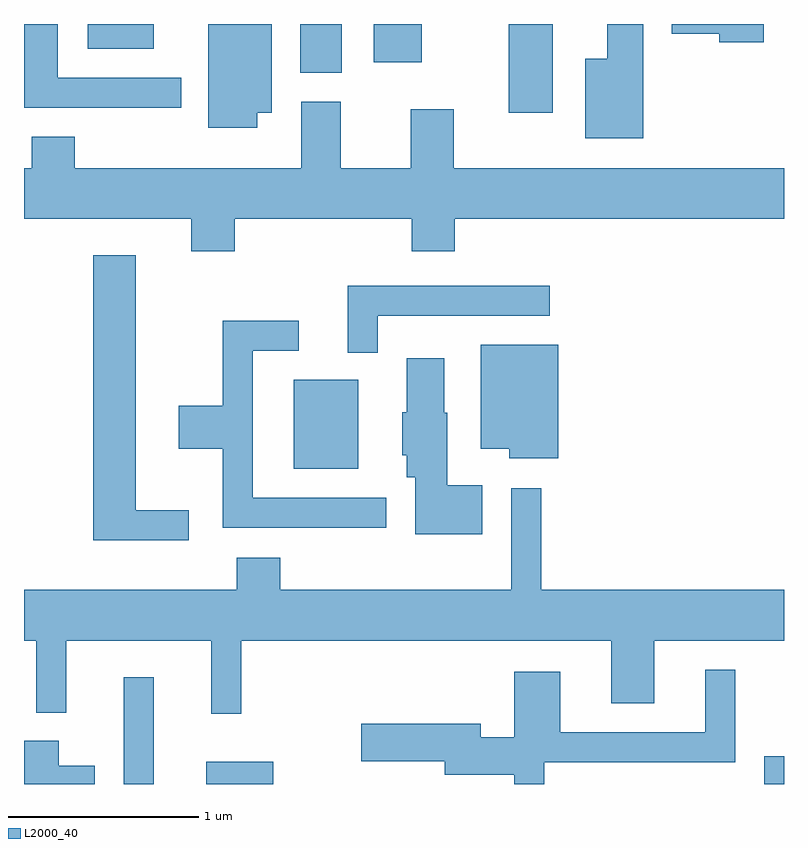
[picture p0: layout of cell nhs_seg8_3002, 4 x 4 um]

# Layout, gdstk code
import gdstk
lib = gdstk.Library(unit=1e-6, precision=1e-09)
def R(c, l, rs):  # rectangles x0, y0, x1, y1
    for r in rs: c.add(gdstk.rectangle(r[:2], r[2:], *l))
def P(c, l, *ps):  # polygons
    for p in ps: c.add(gdstk.Polygon(p, *l))
L2000_40 = (2000, 40)

nhs_seg8_3002 = lib.new_cell('nhs_seg8_3002')
R(nhs_seg8_3002, L2000_40, [(276.136,1822.342,276.294,1822.903), (276.571,1822.342,276.924,1822.459), (279.506,1822.342,279.611,1822.489), (277.031,1824.001,277.369,1824.469), (278.161,1825.876,278.394,1826.342), (277.066,1826.086,277.284,1826.342), (277.451,1826.141,277.704,1826.342), (275.946,1826.211,276.294,1826.342)])
P(nhs_seg8_3002, L2000_40, [(276.438,1826.059),(275.789,1826.059),(275.789,1826.342),(275.611,1826.342),(275.611,1825.901),(276.438,1825.901)],
  [(279.504,1826.342),(279.021,1826.342),(279.021,1826.291),(279.271,1826.291),(279.271,1826.246),(279.504,1826.246)],
  [(276.839,1825.876),(276.914,1825.876),(276.914,1826.342),(276.581,1826.342),(276.581,1825.796),(276.839,1825.796)],
  [(278.869,1826.342),(278.681,1826.342),(278.681,1826.159),(278.566,1826.159),(278.566,1825.741),(278.869,1825.741)],
  [(276.719,1825.316),(277.651,1825.316),(277.651,1825.146),(277.879,1825.146),(277.879,1825.316),(279.611,1825.316),(279.611,1825.584),(277.874,1825.584),(277.874,1825.894),(277.646,1825.894),(277.646,1825.584),(277.279,1825.584),(277.279,1825.934),(277.071,1825.934),(277.071,1825.584),(275.879,1825.584),(275.879,1825.749),(275.651,1825.749),(275.651,1825.584),(275.611,1825.584),(275.611,1825.316),(276.491,1825.316),(276.491,1825.146),(276.719,1825.146)],
  [(276.478,1823.784),(276.199,1823.784),(276.199,1825.124),(275.976,1825.124),(275.976,1823.626),(276.478,1823.626)],
  [(277.474,1824.806),(278.378,1824.806),(278.378,1824.964),(277.316,1824.964),(277.316,1824.613),(277.474,1824.613)],
  [(277.518,1823.849),(276.814,1823.849),(276.814,1824.621),(277.058,1824.621),(277.058,1824.779),(276.656,1824.779),(276.656,1824.334),(276.426,1824.334),(276.426,1824.106),(276.656,1824.106),(276.656,1823.691),(277.518,1823.691)],
  [(278.424,1824.654),(278.016,1824.654),(278.016,1824.106),(278.166,1824.106),(278.166,1824.056),(278.424,1824.056)],
  [(278.024,1823.914),(277.839,1823.914),(277.839,1824.295),(277.824,1824.295),(277.824,1824.584),(277.626,1824.584),(277.626,1824.299),(277.601,1824.299),(277.601,1824.071),(277.626,1824.071),(277.626,1823.956),(277.671,1823.956),(277.671,1823.656),(278.024,1823.656)],
  [(276.754,1823.096),(278.701,1823.096),(278.701,1822.766),(278.929,1822.766),(278.929,1823.096),(279.611,1823.096),(279.611,1823.364),(278.334,1823.364),(278.334,1823.898),(278.176,1823.898),(278.176,1823.364),(276.959,1823.364),(276.959,1823.534),(276.731,1823.534),(276.731,1823.364),(275.611,1823.364),(275.611,1823.096),(275.676,1823.096),(275.676,1822.718),(275.834,1822.718),(275.834,1823.096),(276.596,1823.096),(276.596,1822.713),(276.754,1822.713)],
  [(278.349,1822.456),(279.354,1822.456),(279.354,1822.943),(279.196,1822.943),(279.196,1822.614),(278.434,1822.614),(278.434,1822.934),(278.191,1822.934),(278.191,1822.589),(278.014,1822.589),(278.014,1822.659),(277.386,1822.659),(277.386,1822.461),(277.826,1822.461),(277.826,1822.391),(278.191,1822.391),(278.191,1822.342),(278.349,1822.342)],
  [(275.984,1822.439),(275.794,1822.439),(275.794,1822.569),(275.611,1822.569),(275.611,1822.342),(275.984,1822.342)])

lib.write_gds('nhs_seg8_3002.gds')
